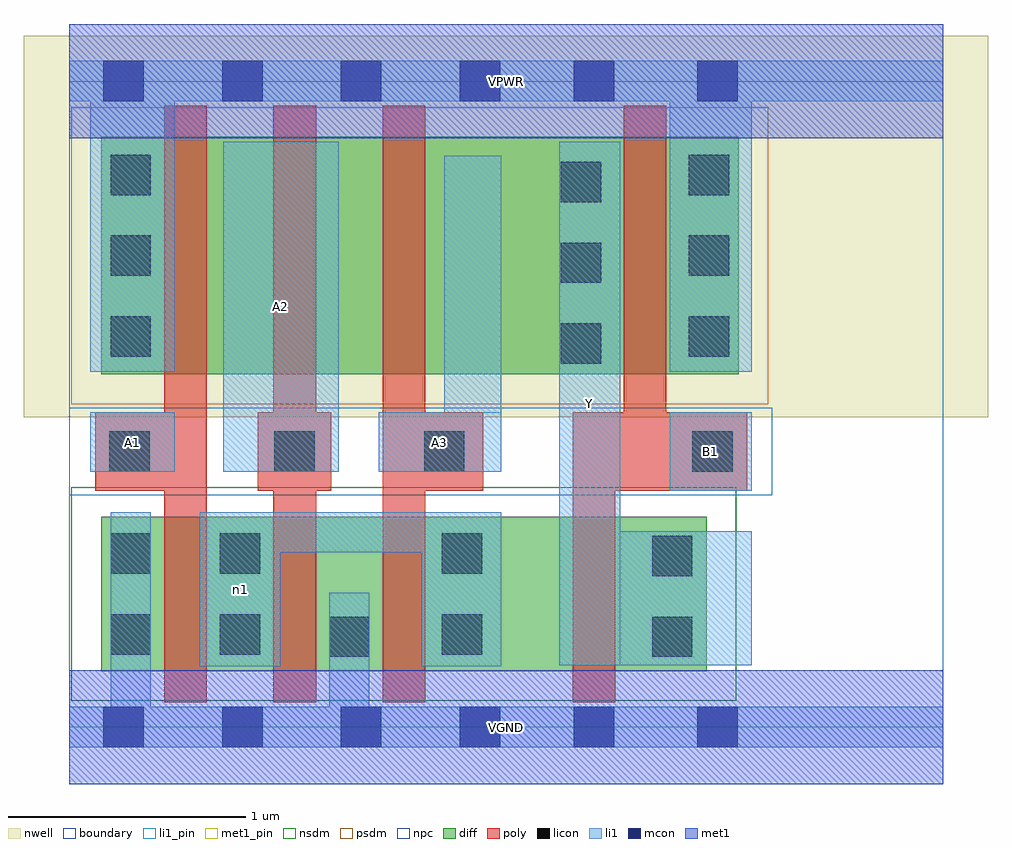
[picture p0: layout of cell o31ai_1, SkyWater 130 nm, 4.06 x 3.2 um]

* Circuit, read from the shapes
.subckt o31ai_1 A1 A2 A3 B1 VGND VPWR Y n1
XM1 n1 A1 VGND VSUBS sky130_fd_pr__nfet_01v8 w=0.65 l=0.18
XM2 VGND A2 n1 VSUBS sky130_fd_pr__nfet_01v8 w=0.65 l=0.18
XM3 n1 A3 VGND VSUBS sky130_fd_pr__nfet_01v8 w=0.65 l=0.18
XM4 Y B1 n1 VSUBS sky130_fd_pr__nfet_01v8 w=0.65 l=0.18
XM5 n2 A1 VPWR n3 sky130_fd_pr__pfet_01v8 w=1 l=0.18
XM6 n4 A2 n2 n3 sky130_fd_pr__pfet_01v8 w=1 l=0.18
XM7 Y A3 n4 n3 sky130_fd_pr__pfet_01v8 w=1 l=0.18
XM8 VPWR B1 Y n3 sky130_fd_pr__pfet_01v8 w=1 l=0.18
.ends

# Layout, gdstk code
import gdstk
lib = gdstk.Library(unit=1e-6, precision=1e-09)
def R(c, l, rs):  # rectangles x0, y0, x1, y1
    for r in rs: c.add(gdstk.rectangle(r[:2], r[2:], *l))
def A(c, l, x, y, w, h, nx, ny, dx, dy):  # array of equal rectangles
    R(c, l, [(x+i*dx, y+j*dy, x+i*dx+w, y+j*dy+h) for i in range(nx) for j in range(ny)])
nwell = (64, 20)
diff = (65, 20)
poly = (66, 20)
licon = (66, 44)
li1_pin = (67, 16)
li1 = (67, 20)
mcon = (67, 44)
met1_pin = (68, 16)
met1 = (68, 20)
nsdm = (93, 44)
psdm = (94, 20)
npc = (95, 20)
boundary = (235, 4)

o31ai_1 = lib.new_cell('o31ai_1')
R(o31ai_1, nwell, [(-0.19,1.305,3.87,2.91), (0,1.305,3.68,2.91)])
R(o31ai_1, diff, [(0.135,0.235,2.685,0.885), (0.135,1.485,2.82,2.485)])
A(o31ai_1, poly, 0.4, 0.105, 0.18, 2.51, 3, 1, 0.46, 0)
R(o31ai_1, poly, [(2.12,0.105,2.3,1.325), (0.11,0.995,0.58,1.325), (0.795,0.995,1.105,1.325), (1.32,0.995,1.745,1.325), (2.12,0.995,2.855,1.325), (2.335,0.995,2.515,2.615)])
A(o31ai_1, licon, 2.07, 1.53, 0.17, 0.17, 1, 3, 0, 0.34)
A(o31ai_1, licon, 0.175, 1.56, 0.17, 0.17, 1, 3, 0, 0.34)
A(o31ai_1, licon, 2.61, 1.56, 0.17, 0.17, 1, 3, 0, 0.34)
R(o31ai_1, licon, [(1.095,0.295,1.265,0.465), (2.455,0.295,2.625,0.465), (0.175,0.305,0.345,0.475), (0.635,0.305,0.805,0.475), (1.57,0.305,1.74,0.475), (2.455,0.635,2.625,0.805), (0.175,0.645,0.345,0.815), (0.635,0.645,0.805,0.815), (1.57,0.645,1.74,0.815), (0.17,1.075,0.34,1.245), (0.865,1.075,1.035,1.245), (1.495,1.075,1.665,1.245), (2.625,1.075,2.795,1.245)])
R(o31ai_1, li1_pin, [(2.065,0.26,2.32,2.465), (2.53,0.995,2.875,1.325), (0.09,1.075,0.445,1.325), (0.65,1.075,1.135,2.465), (1.305,1.075,1.82,1.325)])
R(o31ai_1, li1, [(0,-0.085,3.68,0.085), (0.175,-0.085,0.345,0.905), (1.095,-0.085,1.265,0.565), (0.55,0.255,0.89,0.905), (1.485,0.255,1.82,0.905), (2.065,0.26,2.32,2.465), (2.065,0.26,2.875,0.825), (0.55,0.735,1.82,0.905), (2.53,0.995,2.875,1.325), (0.09,1.075,0.445,1.325), (0.65,1.075,1.135,2.465), (1.305,1.075,1.82,1.325), (1.58,1.075,1.82,2.405), (0.09,1.495,0.445,2.805), (2.53,1.495,2.875,2.805), (0,2.635,3.68,2.805)])
A(o31ai_1, mcon, 0.145, -0.085, 0.17, 0.17, 4, 2, 0.5, 2.72)
R(o31ai_1, mcon, [(2.125,-0.085,2.295,0.085), (2.645,-0.085,2.815,0.085), (2.125,2.635,2.295,2.805), (2.645,2.635,2.815,2.805)])
R(o31ai_1, met1_pin, [(0,-0.24,3.68,0.24), (0,2.48,3.68,2.96)])
R(o31ai_1, met1, [(0,-0.24,3.68,0.24), (0,2.48,3.68,2.96)])
R(o31ai_1, nsdm, [(0.01,0.11,2.81,1.01)])
R(o31ai_1, psdm, [(0.01,1.36,2.945,2.61)])
R(o31ai_1, npc, [(0,0.975,2.96,1.345)])
R(o31ai_1, boundary, [(0,0,3.68,2.72)])
o31ai_1.add(gdstk.Label('A1', (0.267,1.2), layer=67, texttype=5))
o31ai_1.add(gdstk.Label('A2', (0.892,1.77), layer=67, texttype=5))
o31ai_1.add(gdstk.Label('A3', (1.562,1.2), layer=67, texttype=5))
o31ai_1.add(gdstk.Label('B1', (2.702,1.16), layer=67, texttype=5))
o31ai_1.add(gdstk.Label('Y', (2.192,1.362), layer=67, texttype=5))
o31ai_1.add(gdstk.Label('n1', (0.72,0.58), layer=67, texttype=5))
o31ai_1.add(gdstk.Label('VPWR', (1.84,2.72), layer=68, texttype=5))
o31ai_1.add(gdstk.Label('VGND', (1.84,0), layer=68, texttype=5))
o31ai_1.add(gdstk.Label('A1', (0.267,1.2), layer=67, texttype=16))
o31ai_1.add(gdstk.Label('A2', (0.892,1.77), layer=67, texttype=16))
o31ai_1.add(gdstk.Label('A3', (1.562,1.2), layer=67, texttype=16))
o31ai_1.add(gdstk.Label('B1', (2.702,1.16), layer=67, texttype=16))
o31ai_1.add(gdstk.Label('Y', (2.192,1.362), layer=67, texttype=16))
o31ai_1.add(gdstk.Label('VPWR', (1.84,2.72), layer=68, texttype=16))
o31ai_1.add(gdstk.Label('VGND', (1.84,0), layer=68, texttype=16))

lib.write_gds('o31ai_1.gds')
